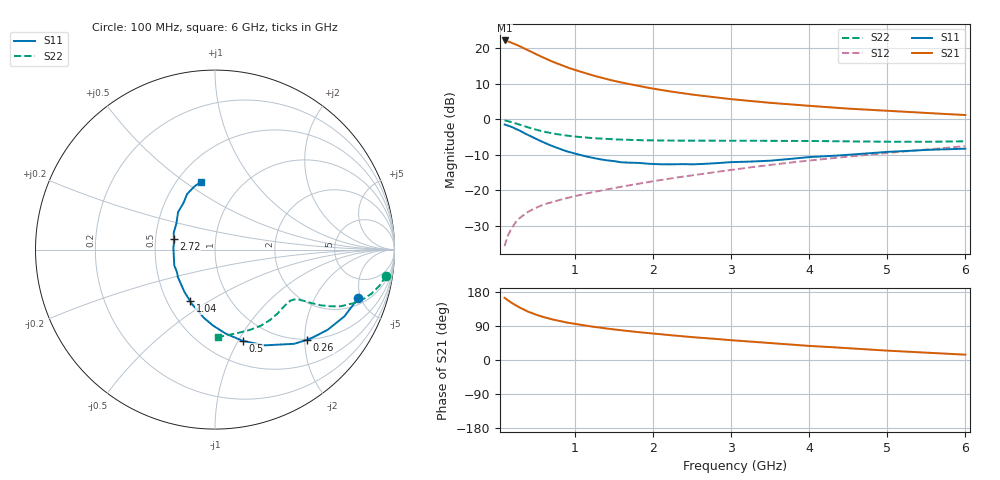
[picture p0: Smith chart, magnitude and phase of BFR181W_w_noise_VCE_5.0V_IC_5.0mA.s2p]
! Infineon Technologies  Discrete & RF Semiconductors
! BFR181W
! VCE =  5.0 V,  IC =  5.0 mA
! Common Emitter S-Parameters:  Nov 2015
# GHz  S  MA  R  50
!  f  S11  S21  S12  S22
! GHz  MAG  ANG  MAG  ANG  MAG  ANG  MAG  ANG
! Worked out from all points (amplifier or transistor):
!   192 points, 100 MHz to 6 GHz, reference 50 ohm
!   highest |S21| = 22.2 dB at 100 MHz (marker M1)
!   |S21| within 3 dB of that: start of sweep to 421.6 MHz
!   unconditionally stable (mu >= 1): 1.487 GHz to 3.183 GHz
!   at 440 MHz: K = 0.50, MSG = 22.3 dB, |S12| = -25.7 dB
!   at 1.7 GHz: K = 1.03, MAG = 13.3 dB, |S12| = -18.6 dB
!   at 6 GHz: K = 0.80, MSG = 4.4 dB, |S12| = -7.6 dB
!   lowest NFmin = 1.55 dB at 450 MHz
!   S11 on the Smith chart (normalised r, x): 100 MHz: 2.57, -4.77; 260 MHz: 0.99, -2.05; 500 MHz: 0.74, -1.04; 1.04 GHz: 0.65, -0.42; 2.72 GHz: 0.62, +0.08; 6 GHz: 0.65, +0.58
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0.1  0.8431 -18.6  12.93 164.1  0.0162 79.9  0.9649 -8.7
0.15  0.8109 -27.4  12.47 156.4  0.0238 75.7  0.9375 -12.5
0.19  0.7773 -33.7  12.01 150.9  0.0288 72.6  0.9111 -15.1
0.26  0.7183 -44.4  11.15 142.2  0.0372 68.0  0.8612 -19.1
0.3  0.6859 -49.9  10.62 137.6  0.041 66.1  0.8335 -20.9
0.4  0.6009 -62.6  9.402 127.5  0.0493 62.3  0.7672 -24.3
0.5  0.5314 -73.1  8.301 119.7  0.0562 60.2  0.7122 -26.3
0.6  0.4717 -82.8  7.376 113.2  0.0625 59.1  0.6687 -27.7
0.7  0.4232 -91.5  6.583 107.6  0.0675 58.6  0.6347 -28.5
0.8  0.3846 -99.4  5.955 102.9  0.0723 58.5  0.6077 -29.2
0.9  0.3515 -106.2  5.396 98.8  0.0775 58.8  0.5869 -29.5
1.04  0.3195 -115.6  4.811 94.0  0.0841 59.4  0.5648 -30.2
1.1  0.3072 -119.3  4.589 92.2  0.0871 59.6  0.5569 -30.4
1.2  0.2898 -126.2  4.231 88.7  0.0922 59.9  0.5438 -30.8
1.5  0.257 -143.7  3.48 80.7  0.1068 61.4  0.5204 -32.3
1.8  0.2432 -158.9  2.969 73.8  0.1227 62.7  0.5071 -34.2
2.08  0.232 -171.3  2.615 68.2  0.1379 63.7  0.5014 -36.4
2.72  0.2367 165.7  2.088 57.1  0.1753 64.3  0.4976 -42.5
3.1  0.2499 155.2  1.875 50.9  0.1993 64.2  0.4978 -46.9
4.1  0.2962 132.4  1.519 36.1  0.2684 61.6  0.4928 -60.4
5.1  0.3504 114.9  1.299 23.7  0.342 57.4  0.4816 -75.1
6  0.3848 101.9  1.147 14.1  0.418 52.8  0.4888 -88.2
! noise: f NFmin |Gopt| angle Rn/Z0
0.45  1.55  0.48  17  0.36
0.9  1.65  0.4  35  0.34
1.8  2  0.18  88  0.34
